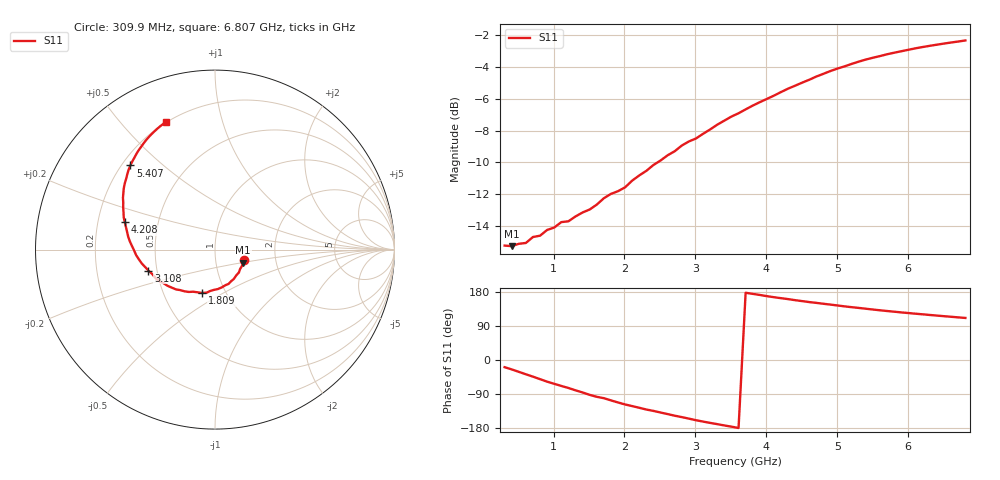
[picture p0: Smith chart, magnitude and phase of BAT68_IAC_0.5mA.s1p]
! Infineon Technologies  Discrete & RF Semiconductors
! BAT68
! IAC = 0.5 mA
! One-Port S-Parameters
# Hz  S  MA  R  50
!f  S11
!Hz  Mag  Ang
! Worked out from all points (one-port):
!   66 points, 309.9 MHz to 6.807 GHz, reference 50 ohm
!   lowest |S11| = -15.3 dB at 409.8 MHz (marker M1), VSWR 1.42, Z = 67.7 - j10.1 ohm
!   |S11| at or under -10 dB: start of sweep to 2.467 GHz
!   S11 on the Smith chart (normalised r, x): 309.9 MHz: 1.38, -0.16; 1.809 GHz: 0.78, -0.40; 3.108 GHz: 0.45, -0.12; 4.208 GHz: 0.32, +0.13; 5.407 GHz: 0.23, +0.39; 6.807 GHz: 0.20, +0.67
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3.0985e8  0.1734 -18.9
4.098e8  0.1727 -24.8
6.097e8  0.1767 -37.7
7.0965e8  0.1845 -43.9
8.096e8  0.1862 -50.6
1.10945e9  0.2054 -68.4
1.2094e9  0.2067 -73.8
1.4093e9  0.2203 -85.7
1.50925e9  0.225 -92.0
1.70915e9  0.2441 -100.8
1.8091e9  0.2519 -106.6
2.009e9  0.2642 -117.4
2.10895e9  0.2772 -121.7
2.4088e9  0.3104 -134.4
2.8086e9  0.3573 -150.7
3.10845e9  0.3888 -162.5
3.30835e9  0.4153 -169.3
3.6082e9  0.451 -179.5
3.90805e9  0.4885 171.7
4.2079e9  0.5257 163.1
4.4078e9  0.5505 157.8
4.90755e9  0.6122 146.1
5.2074e9  0.6445 139.3
5.4073e9  0.665 135.2
5.70715e9  0.6908 129.2
6.007e9  0.7136 123.8
6.30685e9  0.7341 118.8
6.8066e9  0.7629 111.0
